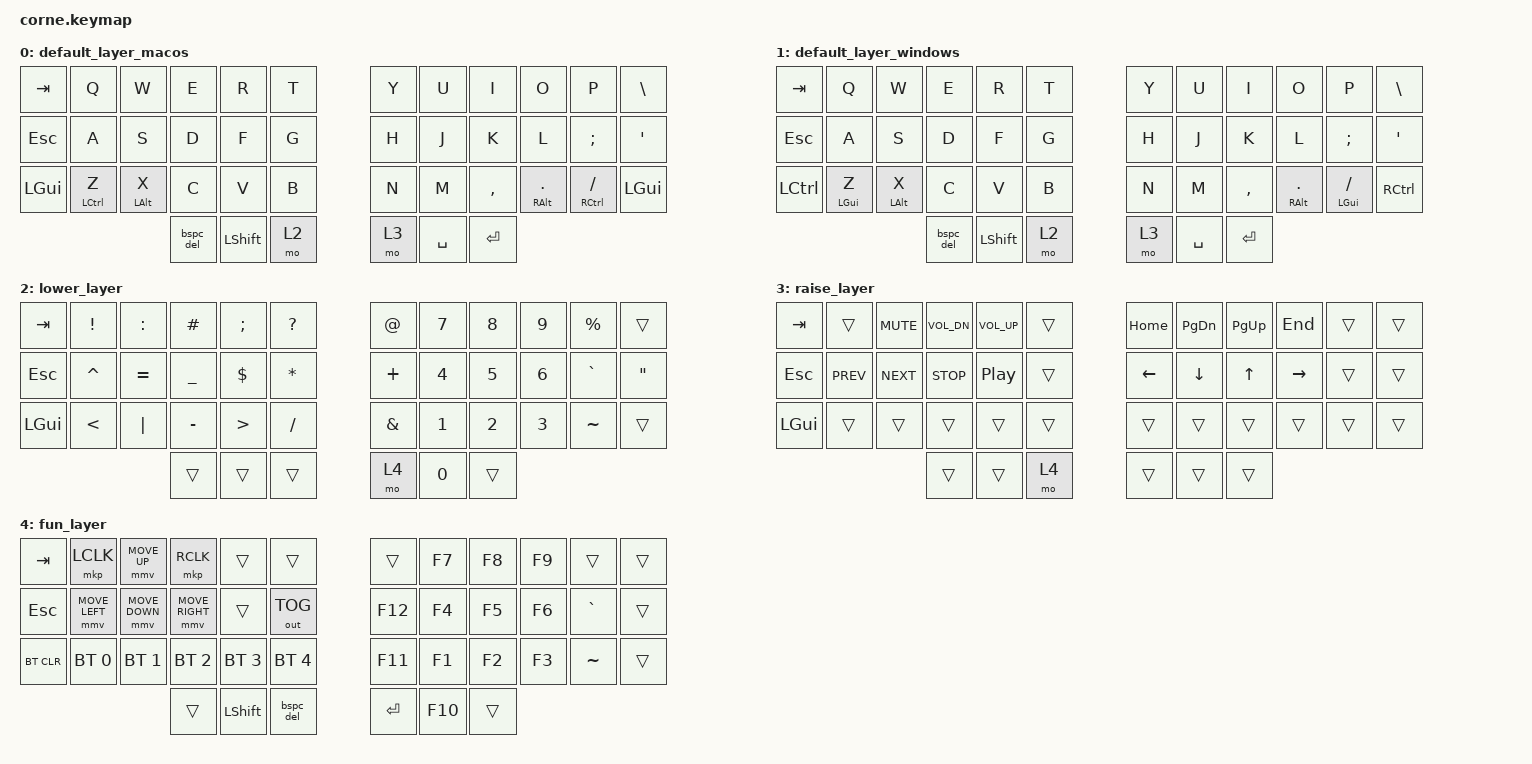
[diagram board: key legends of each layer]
/*
 * Copyright (c) 2020 The ZMK Contributors
 *
 * SPDX-License-Identifier: MIT
 */

#include <behaviors.dtsi>
#include <dt-bindings/zmk/keys.h>
#include <dt-bindings/zmk/bt.h>
#include <dt-bindings/zmk/outputs.h>
#include <dt-bindings/zmk/pointing.h>

/ {
    behaviors {
        mt: mod_tap {
            compatible = "zmk,behavior-hold-tap";
            tapping-term-ms = <150>;
            flavor = "tap-preferred";
            bindings = <&kp>,  <&kp>;
            display-name = "My Mod Tap";
        };
        bspc_del: backspace_delete {
            compatible = "zmk,behavior-mod-morph";
            #binding-cells = <0>;
            bindings = <&kp BSPC>, <&kp DELETE>;
            mods = <(MOD_LSFT|MOD_RSFT)>;

        };
    };

    combos {
        compatible = "zmk,combos";
        timeout-ms = <30>;

        combo_less_than { // C + V = <
            key-positions = <27 28>;
            bindings = <&kp LT>;
        };
        combo_greater_than { // M + COMMA = >
            key-positions = <31 32>;
            bindings = <&kp GT>;
        };
        combo_left_bracket { // W + E = [
            key-positions = <2 3>;
            bindings = <&kp LBKT>;
            layers = <0 1 2 3>;
        };
        combo_right_bracket { // I + O = ]
            key-positions = <8 9>;
            bindings = <&kp RBKT>;
        };
        combo_left_paren { // S + D = (
            key-positions = <14 15>;
            bindings = <&kp LPAR>;
            layers = <0 1 2 3>;
        };
        combo_right_paren { // K + L = )
            key-positions = <20 21>;
            bindings = <&kp RPAR>;
        };
        combo_left_brace { // X + C = {
            key-positions = <26 27>;
            bindings = <&kp LBRC>;
        };
        combo_right_brace { // COMMA + DOT = }
            key-positions = <32 33>;
            bindings = <&kp RBRC>;
        };
        combo_scroll_up { // W + E = scroll up (on fun layer)
            key-positions = <2 3>;
            bindings = <&msc SCRL_UP>;
            layers = <4>;
        };
        combo_scroll_down { // S + D = scroll down (on fun layer)
            key-positions = <14 15>;
            bindings = <&msc SCRL_DOWN>;
            layers = <4>;
        };
        combo_enable_macos {
            key-positions = <6 11>;
            bindings = <&to 0>;
            layers = <1>;
        };
        combo_enable_windows {
            key-positions = <6 11>;
            bindings = <&to 1>;
            layers = <0>;
        };
    };

    keymap {
        compatible = "zmk,keymap";
        tapping-term-ms = <130>; // Global tapping term for hold-taps in this keymap

        default_layer_macos { //Layer 0
            // -----------------------------------------------------------------------------------------
            // |  TAB |  Q  |  W  |  E  |  R   |  T   |    |  Y  |  U   |  I  |  O  |  P  | \ |
            // | ESC  |  A  |  S  |  D  |  F   |  G   |    |  H  |  J   |  K  |  L  |  ;  |  '  |
            // | LGUI |  Z  |  X  |  C  |  V   |  B   |    |  N  |  M   |  ,  |  .  |  /  | LGUI  |
            //                    | BSPC | SHFT | LWR |    | RSE | SPC  | ENT |
            bindings = <
                &kp TAB  &kp Q       &kp W      &kp E      &kp R     &kp T         &kp Y      &kp U      &kp I      &kp O         &kp P          &kp BSLH
                &kp ESC  &kp A       &kp S      &kp D      &kp F     &kp G         &kp H      &kp J      &kp K      &kp L         &kp SEMI       &kp SQT
                &kp LGUI &mt LCTRL Z &mt LALT X &kp C      &kp V     &kp B         &kp N      &kp M      &kp COMMA  &mt RALT DOT  &mt RCTRL FSLH &kp LGUI
                                                &bspc_del  &kp LSHFT &mo 2         &mo 3      &kp SPACE  &kp RET
            >;
        };

        default_layer_windows { // Layer 1
            // -----------------------------------------------------------------------------------------
            // |  TAB |  Q  |  W  |  E  |  R   |  T   |    |  Y  |  U   |  I  |  O  |  P  | \ |
            // | ESC  |  A  |  S  |  D  |  F   |  G   |    |  H  |  J   |  K  |  L  |  ;  |  '  |
            // | LGUI |  Z  |  X  |  C  |  V   |  B   |    |  N  |  M   |  ,  |  .  |  /  | LGUI  |
            //                    | BSPC | SHFT | LWR |    | RSE | SPC  | ENT |
            bindings = <
                &kp TAB   &kp Q       &kp W      &kp E      &kp R     &kp T         &kp Y      &kp U      &kp I      &kp O         &kp P          &kp BSLH
                &kp ESC   &kp A       &kp S      &kp D      &kp F     &kp G         &kp H      &kp J      &kp K      &kp L         &kp SEMI       &kp SQT
                &kp LCTRL &mt LGUI Z  &mt LALT X &kp C      &kp V     &kp B         &kp N      &kp M      &kp COMMA  &mt RALT DOT  &mt LGUI FSLH  &kp RCTRL
                                                 &bspc_del  &kp LSHFT &mo 2         &mo 3      &kp SPACE  &kp RET
            >;
        };

        lower_layer { // Layer 2
            // -----------------------------------------------------------------------------------------
            // | TAB  |  !   |   :   |  #  |  ;   |   ?  |   |  @  |  7  |  8  |  9  |  %  |      |
            // | ESC  |  ^   |   =   |  _  |  $   |   * |   |  +  |  4  |  5  |  6  |  `  |      |
            // | LGUI |  <   |  "|"  |  -  |  >   |   /  |   |  &  |  1  |  2  |  3  |  ~  |      |
            //                       |       |      |      |   | FUN |  0  |     |
            bindings = <
                &kp TAB  &kp EXCL   &kp COLON  &kp HASH   &kp SEMI &kp QMARK     &kp AT     &kp N7     &kp N8     &kp N9   &kp PRCNT     &trans
                &kp ESC  &kp CARET  &kp EQUAL  &kp UNDER  &kp DLLR &kp ASTRK     &kp PLUS   &kp N4     &kp N5     &kp N6   &kp GRAVE     &kp DOUBLE_QUOTES 
                &kp LGUI &kp LT     &kp PIPE   &kp MINUS  &kp GT   &kp FSLH      &kp AMPS   &kp N1     &kp N2     &kp N3   &kp TILDE     &trans
                                               &trans     &trans   &trans        &mo 4      &kp N0     &trans
            >;
        };

        raise_layer { // Layer 3
            // -----------------------------------------------------------------------------------------
            // |  TAB |       | MUTE | VOLDOWN | VOLUP |       |     | HOME | PGDN | PGUP |  END  |     |   |
            // |  ESC | PREV  | NEXT |  STOP   |  PLAY |       |     | LEFT | DOWN |  UP  | RIGHT |     |   |
            // | LGUI |       |      |         |       |       |     |      |      |      |       |     |   |
            //                       |         |       |  FUN  |     |      |      |       |
            bindings = <
                &kp TAB  &trans     &kp C_MUTE &kp C_VOL_DN &kp C_VOL_UP &trans    &kp HOME   &kp PG_DN  &kp PG_UP  &kp END  &trans        &trans
                &kp ESC  &kp C_PREV &kp C_NEXT &kp C_STOP   &kp C_PP     &trans    &kp LEFT   &kp DOWN   &kp UP     &kp RIGHT &trans       &trans
                &kp LGUI &trans     &trans     &trans       &trans       &trans    &trans     &trans     &trans     &trans   &trans        &trans
                                               &trans       &trans       &mo 4     &trans     &trans     &trans
            >;
        };

        fun_layer { // Layer 4
            // -----------------------------------------------------------------------------------------
            // | TAB   |  LEFTCLICK | MOUSEUP   | RIGHTCLICK |       |       |      |      |   F7 |  F8  |  F9  |      |      |
            // | ESC   | MOUSELEFT  | MOUSEDOWN | MOUSERIGHT |       | OUTTG |      |  F12 |   F4 |  F5  |  F6  |  `   |      |
            // | BTCLR |        BT1 |       BT2 |        BT3 |   BT4 |   BT5 |      |  F11 |   F1 |  F2  |  F3  |  ~   |      |
            //                      |           |            |  SHFT |  BSPC |      |  ENT |  F10 |      |
            bindings = <
                &kp TAB    &mkp LCLK        &mmv MOVE_UP       &mkp RCLK        &trans         &trans        &trans     &kp F7     &kp F8     &kp F9   &trans        &trans
                &kp ESC    &mmv MOVE_LEFT   &mmv MOVE_DOWN     &mmv MOVE_RIGHT  &trans         &out OUT_TOG  &kp F12    &kp F4     &kp F5     &kp F6   &kp GRAVE     &trans
                &bt BT_CLR &bt BT_SEL 0     &bt BT_SEL 1       &bt BT_SEL 2     &bt BT_SEL 3   &bt BT_SEL 4  &kp F11    &kp F1     &kp F2     &kp F3   &kp TILDE     &trans
                                                               &trans           &kp LSHFT      &bspc_del     &kp RET    &kp F10    &trans
            >;
        };
    };
};
